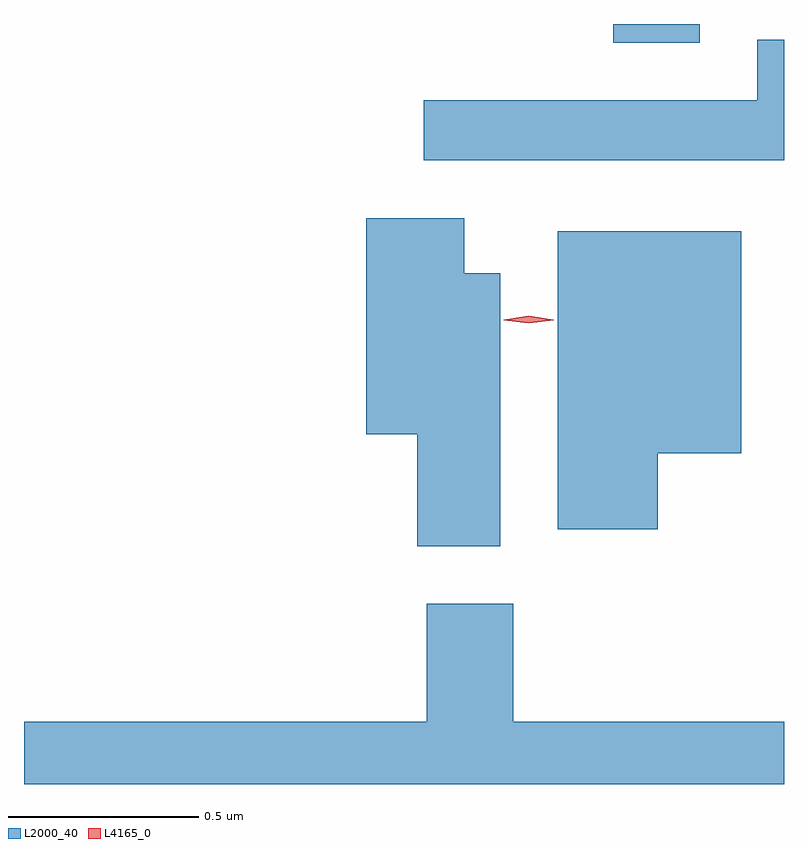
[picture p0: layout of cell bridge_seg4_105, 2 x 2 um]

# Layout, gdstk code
import gdstk
lib = gdstk.Library(unit=1e-6, precision=1e-09)
def R(c, l, rs):  # rectangles x0, y0, x1, y1
    for r in rs: c.add(gdstk.rectangle(r[:2], r[2:], *l))
def P(c, l, *ps):  # polygons
    for p in ps: c.add(gdstk.Polygon(p, *l))
L2000_40 = (2000, 40)
L4165_0 = (4165, 0)

bridge_seg4_105 = lib.new_cell('bridge_seg4_105')
R(bridge_seg4_105, L2000_40, [(943.231,1383.371,943.459,1383.42)])
P(bridge_seg4_105, L2000_40, [(943.681,1383.379),(943.611,1383.379),(943.611,1383.219),(942.733,1383.219),(942.733,1383.061),(943.681,1383.061)],
  [(942.934,1382.764),(942.839,1382.764),(942.839,1382.909),(942.581,1382.909),(942.581,1382.341),(942.716,1382.341),(942.716,1382.046),(942.934,1382.046)],
  [(943.349,1382.291),(943.569,1382.291),(943.569,1382.874),(943.086,1382.874),(943.086,1382.091),(943.349,1382.091)],
  [(943.681,1381.584),(942.969,1381.584),(942.969,1381.894),(942.741,1381.894),(942.741,1381.584),(941.681,1381.584),(941.681,1381.42),(943.681,1381.42)])
P(bridge_seg4_105, L4165_0, [(943.009,1382.632),(942.944,1382.641),(942.943,1382.642),(942.944,1382.642),(943.009,1382.652),(943.075,1382.642),(943.075,1382.642),(943.075,1382.641)])

lib.write_gds('bridge_seg4_105.gds')
